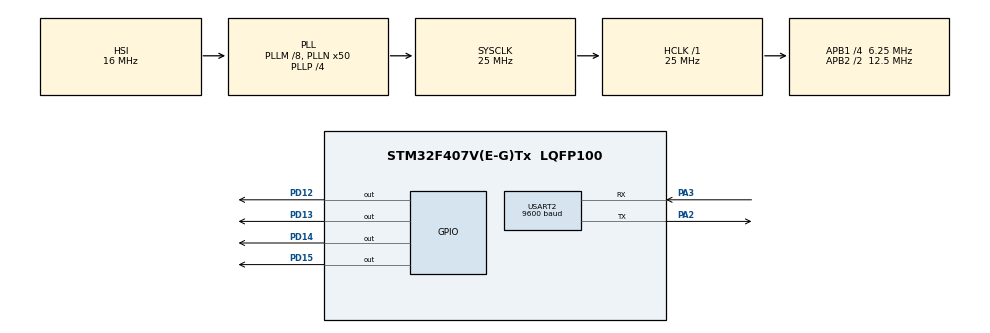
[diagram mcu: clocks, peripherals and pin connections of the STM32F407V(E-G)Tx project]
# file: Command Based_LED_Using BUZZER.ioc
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Mcu.Family=STM32F4
Mcu.Name=STM32F407V(E-G)Tx
Mcu.Package=LQFP100
NVIC.PriorityGroup=NVIC_PRIORITYGROUP_0
PA2.Mode=Asynchronous
PA2.Signal=USART2_TX
PA3.Mode=Asynchronous
PA3.Signal=USART2_RX
PD12.Signal=GPIO_Output
PD13.Signal=GPIO_Output
PD14.Signal=GPIO_Output
PD15.Signal=GPIO_Output
ProjectManager.HeapSize=0x200
ProjectManager.StackSize=0x400
ProjectManager.TargetToolchain=STM32CubeIDE
RCC.48MHZClocksFreq_Value=14285714.285714285
RCC.AHBFreq_Value=25000000
RCC.APB1CLKDivider=RCC_HCLK_DIV4
RCC.APB1Freq_Value=6250000
RCC.APB1TimFreq_Value=12500000
RCC.APB2CLKDivider=RCC_HCLK_DIV2
RCC.APB2Freq_Value=12500000
RCC.APB2TimFreq_Value=25000000
RCC.CortexFreq_Value=25000000
RCC.HCLKFreq_Value=25000000
RCC.HSE_VALUE=8000000
RCC.HSI_VALUE=16000000
RCC.LSE_VALUE=32768
RCC.PLLM=8
RCC.PLLN=50
RCC.PLLP=RCC_PLLP_DIV4
RCC.PLLQ=7
RCC.SYSCLKFreq_VALUE=25000000
RCC.SYSCLKSource=RCC_SYSCLKSOURCE_PLLCLK
RCC.VCOOutputFreq_Value=100000000
USART2.BaudRate=9600
USART2.VirtualMode=VM_ASYNC
board=STM32F407G-DISC1

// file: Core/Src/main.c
/* USER CODE BEGIN Header */
/**
  ******************************************************************************
  * @file           : main.c
  * @brief          : Main program body
  ******************************************************************************
  * @attention
  *
  * Copyright (c) 2025 STMicroelectronics.
  * All rights reserved.
  *
  * This software is licensed under terms that can be found in the LICENSE file
  * in the root directory of this software component.
  * If no LICENSE file comes with this software, it is provided AS-IS.
  *
  ******************************************************************************
  */
/* USER CODE END Header */
#include "main.h"

/* USER CODE BEGIN Includes */
#define Max_len 100
char rx_string[Max_len];        //store the string
uint8_t rx_index = 0;           //current position
uint16_t rx_byte;
/* USER CODE END Includes */

UART_HandleTypeDef huart2;

void SystemClock_Config(void);
static void MX_GPIO_Init(void);
static void MX_USART2_UART_Init(void);

int main(void)
{

  /* MCU Configuration--------------------------------------------------------*/

  /* Reset of all peripherals, Initializes the Flash interface and the Systick. */
  HAL_Init();

  /* Configure the system clock */
  SystemClock_Config();

  /* Initialize all configured peripherals */
  MX_GPIO_Init();
  MX_USART2_UART_Init();
  /* USER CODE BEGIN 2 */
  char msg0[]="Hello Sunbeam.....\r\n";
  HAL_UART_Transmit(&huart2,(uint8_t*)msg0, strlen(msg0), HAL_MAX_DELAY);

  /* USER CODE END 2 */

  /* Infinite loop */
  while (1)
  {

    /* USER CODE BEGIN 3 */
	  HAL_UART_Receive(&huart2, &rx_byte, 1, HAL_MAX_DELAY);
	 //        address of uart, address of single incoming byte, size of rx_string, max delay
	  HAL_UART_Transmit(&huart2, &rx_byte, 1, HAL_MAX_DELAY);

	  if(rx_byte == '\r')
	  {
		  rx_string[rx_index] = '\0';

	  	  char msg[]="\r\nYou sent : ";
	  	  HAL_UART_Transmit(&huart2,(uint8_t*)msg, strlen(msg), HAL_MAX_DELAY);
	  	  HAL_UART_Transmit(&huart2, (uint8_t*)rx_string, strlen(rx_string), HAL_MAX_DELAY);

	  	  if( strcmp(rx_string , "BUZZER_ON")==0)
				  {
				 HAL_GPIO_WritePin(GPIOD, GPIO_PIN_14, GPIO_PIN_SET);
				 HAL_Delay(1000);
				 char msg1[50] = "\nBUZZER is ON ...\r\n";
				 HAL_UART_Transmit(&huart2, ( uint8_t *)msg1, strlen(msg1),HAL_MAX_DELAY);

				  char msg4[50] = "\r\n";
				  HAL_UART_Transmit(&huart2, ( uint8_t *)msg4, strlen(msg4),HAL_MAX_DELAY);

			  }
	  	  else if( strcmp(rx_string , "BUZZER_OFF")==0)
	  	  {

	  			HAL_GPIO_WritePin(GPIOD, GPIO_PIN_13, GPIO_PIN_RESET);
	  			HAL_Delay(1000);
	  			char msg2[50] = "\nBUZZER is OFF ...\r\n";
	  			HAL_UART_Transmit(&huart2, ( uint8_t *)msg2, strlen(msg2),HAL_MAX_DELAY);

	  		  	  char msg5[50] = "\r\n";
	  		  	  HAL_UART_Transmit(&huart2, ( uint8_t *)msg5, strlen(msg5),HAL_MAX_DELAY);

	  	  	  }
	  	  else
	  	   {
	  	  		  char msg3[50] = "\nInvalid Command ...\r\n";
	  	  		  HAL_UART_Transmit(&huart2, ( uint8_t *)msg3, strlen(msg3),HAL_MAX_DELAY);
	  	  	}

	  	  rx_index = 0;
	  }
	  else
	  {
	      /* Store character */
	      if (rx_index < Max_len - 1)
	      {
	          rx_string[rx_index++] = rx_byte;
	      }
	  }

  }
  /* USER CODE END 3 */
}

void SystemClock_Config(void)
{
  RCC_OscInitTypeDef RCC_OscInitStruct = {0};
  RCC_ClkInitTypeDef RCC_ClkInitStruct = {0};

  /** Configure the main internal regulator output voltage
  */
  __HAL_RCC_PWR_CLK_ENABLE();
  __HAL_PWR_VOLTAGESCALING_CONFIG(PWR_REGULATOR_VOLTAGE_SCALE1);

  /** Initializes the RCC Oscillators according to the specified parameters
  * in the RCC_OscInitTypeDef structure.
  */
  RCC_OscInitStruct.OscillatorType = RCC_OSCILLATORTYPE_HSI;
  RCC_OscInitStruct.HSIState = RCC_HSI_ON;
  RCC_OscInitStruct.HSICalibrationValue = RCC_HSICALIBRATION_DEFAULT;
  RCC_OscInitStruct.PLL.PLLState = RCC_PLL_ON;
  RCC_OscInitStruct.PLL.PLLSource = RCC_PLLSOURCE_HSI;
  RCC_OscInitStruct.PLL.PLLM = 8;
  RCC_OscInitStruct.PLL.PLLN = 50;
  RCC_OscInitStruct.PLL.PLLP = RCC_PLLP_DIV4;
  RCC_OscInitStruct.PLL.PLLQ = 7;
  if (HAL_RCC_OscConfig(&RCC_OscInitStruct) != HAL_OK)
  {
    Error_Handler();
  }

  /** Initializes the CPU, AHB and APB buses clocks
  */
  RCC_ClkInitStruct.ClockType = RCC_CLOCKTYPE_HCLK|RCC_CLOCKTYPE_SYSCLK
                              |RCC_CLOCKTYPE_PCLK1|RCC_CLOCKTYPE_PCLK2;
  RCC_ClkInitStruct.SYSCLKSource = RCC_SYSCLKSOURCE_PLLCLK;
  RCC_ClkInitStruct.AHBCLKDivider = RCC_SYSCLK_DIV1;
  RCC_ClkInitStruct.APB1CLKDivider = RCC_HCLK_DIV4;
  RCC_ClkInitStruct.APB2CLKDivider = RCC_HCLK_DIV2;

  if (HAL_RCC_ClockConfig(&RCC_ClkInitStruct, FLASH_LATENCY_0) != HAL_OK)
  {
    Error_Handler();
  }
}

static void MX_USART2_UART_Init(void)
{

  huart2.Instance = USART2;
  huart2.Init.BaudRate = 9600;
  huart2.Init.WordLength = UART_WORDLENGTH_8B;
  huart2.Init.StopBits = UART_STOPBITS_1;
  huart2.Init.Parity = UART_PARITY_NONE;
  huart2.Init.Mode = UART_MODE_TX_RX;
  huart2.Init.HwFlowCtl = UART_HWCONTROL_NONE;
  huart2.Init.OverSampling = UART_OVERSAMPLING_16;
  if (HAL_UART_Init(&huart2) != HAL_OK)
  {
    Error_Handler();
  }

}

static void MX_GPIO_Init(void)
{
  GPIO_InitTypeDef GPIO_InitStruct = {0};

  /* GPIO Ports Clock Enable */
  __HAL_RCC_GPIOA_CLK_ENABLE();
  __HAL_RCC_GPIOD_CLK_ENABLE();

  /*Configure GPIO pin Output Level */
  HAL_GPIO_WritePin(GPIOD, GPIO_PIN_12|GPIO_PIN_13|GPIO_PIN_14|GPIO_PIN_15, GPIO_PIN_RESET);

  /*Configure GPIO pins : PD12 PD13 PD14 PD15 */
  GPIO_InitStruct.Pin = GPIO_PIN_12|GPIO_PIN_13|GPIO_PIN_14|GPIO_PIN_15;
  GPIO_InitStruct.Mode = GPIO_MODE_OUTPUT_PP;
  GPIO_InitStruct.Pull = GPIO_NOPULL;
  GPIO_InitStruct.Speed = GPIO_SPEED_FREQ_LOW;
  HAL_GPIO_Init(GPIOD, &GPIO_InitStruct);

}

void Error_Handler(void)
{
  __disable_irq();
  while (1)
  {
  }
}
